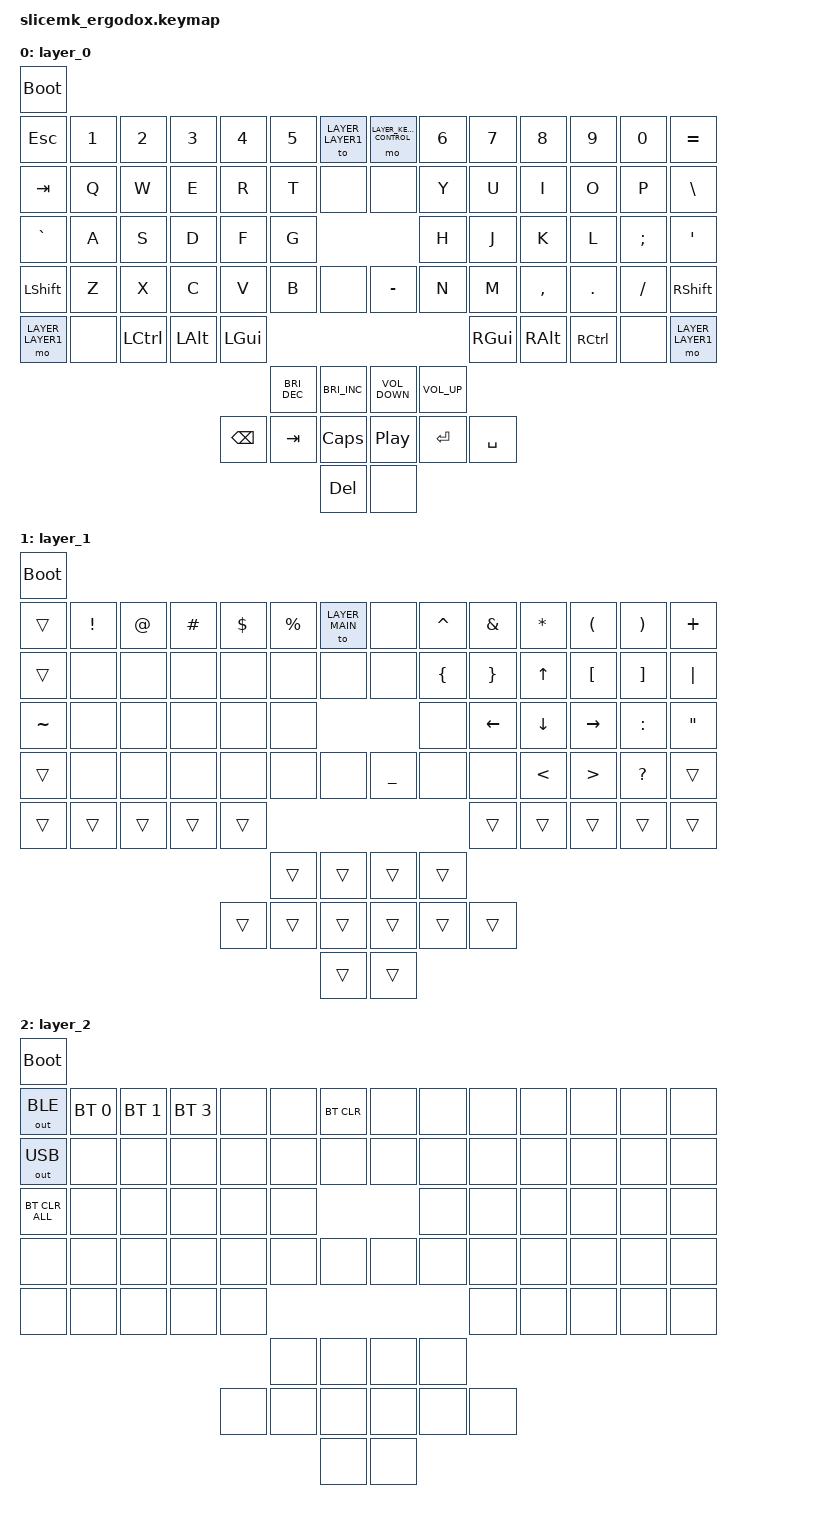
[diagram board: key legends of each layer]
#define LAYER_MAIN 0
#define LAYER_LAYER1 1
#define LAYER_KEYBOARD_CONTROL 2

#include <behaviors.dtsi>
#include <dt-bindings/zmk/bt.h>
#include <dt-bindings/zmk/keys.h>
#include <dt-bindings/zmk/outputs.h>
#include <dt-bindings/zmk/pointing.h>
#include <dt-bindings/zmk/rgb.h>

/ {
	keymap {
		compatible = "zmk,keymap";
		layer_0 {
			bindings = <
				&bootloader
				&kp ESCAPE       &kp NUMBER_1 &kp NUMBER_2     &kp NUMBER_3 &kp NUMBER_4  &kp NUMBER_5         &to LAYER_LAYER1     &mo LAYER_KEYBOARD_CONTROL &kp NUMBER_6    &kp NUMBER_7  &kp NUMBER_8  &kp NUMBER_9      &kp NUMBER_0  &kp EQUAL
				&kp TAB          &kp Q        &kp W            &kp E        &kp R         &kp T                &none                &none                      &kp Y           &kp U         &kp I         &kp O             &kp P         &kp BACKSLASH
				&kp GRAVE        &kp A        &kp S            &kp D        &kp F         &kp G                                                                &kp H           &kp J         &kp K         &kp L             &kp SEMICOLON &kp SINGLE_QUOTE
				&kp LEFT_SHIFT   &kp Z        &kp X            &kp C        &kp V         &kp B                &none                &kp MINUS                  &kp N           &kp M         &kp COMMA     &kp PERIOD        &kp SLASH     &kp RIGHT_SHIFT
				&mo LAYER_LAYER1 &none        &kp LEFT_CONTROL &kp LEFT_ALT &kp LEFT_GUI                                                                                       &kp RIGHT_GUI &kp RIGHT_ALT &kp RIGHT_CONTROL &none         &mo LAYER_LAYER1
				                                                                          &kp C_BRIGHTNESS_DEC &kp C_BRIGHTNESS_INC &kp C_VOLUME_DOWN          &kp C_VOLUME_UP
				                                                            &kp BACKSPACE &kp TAB              &kp CAPSLOCK         &kp C_PLAY_PAUSE           &kp RETURN      &kp SPACE
				                                                                                               &kp DELETE           &none
			>;
		};
		layer_1 {
			bindings = <
				&bootloader
				&trans    &kp EXCLAMATION &kp AT_SIGN &kp HASH &kp DOLLAR &kp PERCENT &to LAYER_MAIN &none          &kp CARET      &kp AMPERSAND   &kp ASTERISK   &kp LEFT_PARENTHESIS &kp RIGHT_PARENTHESIS &kp PLUS
				&trans    &none           &none       &none    &none      &none       &none          &none          &kp LEFT_BRACE &kp RIGHT_BRACE &kp UP_ARROW   &kp LEFT_BRACKET     &kp RIGHT_BRACKET     &kp PIPE
				&kp TILDE &none           &none       &none    &none      &none                                     &none          &kp LEFT_ARROW  &kp DOWN_ARROW &kp RIGHT_ARROW      &kp COLON             &kp DOUBLE_QUOTES
				&trans    &none           &none       &none    &none      &none       &none          &kp UNDERSCORE &none          &none           &kp LESS_THAN  &kp GREATER_THAN     &kp QUESTION          &trans
				&trans    &trans          &trans      &trans   &trans                                                              &trans          &trans         &trans               &trans                &trans
				                                                          &trans      &trans         &trans         &trans
				                                               &trans     &trans      &trans         &trans         &trans         &trans
				                                                                      &trans         &trans
			>;
		};
		layer_2 {
			bindings = <
				&bootloader
				&out OUT_BLE   &bt BT_SEL 0 &bt BT_SEL 1 &bt BT_SEL 3 &none &none &bt BT_CLR &none &none &none &none &none &none &none
				&out OUT_USB   &none        &none        &none        &none &none &none      &none &none &none &none &none &none &none
				&bt BT_CLR_ALL &none        &none        &none        &none &none                  &none &none &none &none &none &none
				&none          &none        &none        &none        &none &none &none      &none &none &none &none &none &none &none
				&none          &none        &none        &none        &none                              &none &none &none &none &none
				                                                            &none &none      &none &none
				                                                      &none &none &none      &none &none &none
				                                                                  &none      &none
			>;
		};
	};
};
